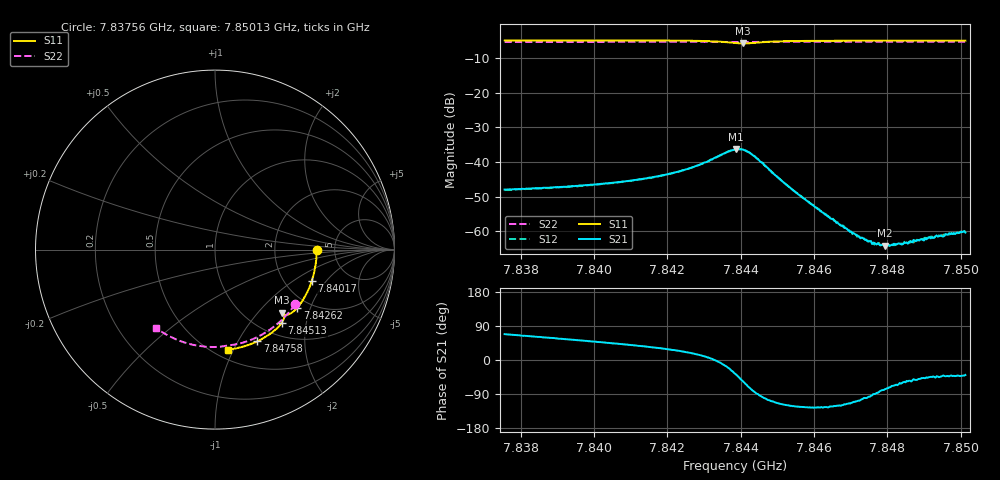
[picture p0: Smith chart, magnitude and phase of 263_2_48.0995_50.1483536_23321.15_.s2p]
#  HZ  S  RI  R  50.00
! Rohde & Schwarz Vector Network Analyzer
! Rohde-Schwarz,ZNB20-2Port,1311601062101988,3.16
! Created: UTC 12/23/2023, 4:01:00 AM
! freq[Hz]  re:S11  im:S11  re:S21  im:S21  re:S12  im:S12  re:S22  im:S22
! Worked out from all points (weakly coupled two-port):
!   401 points, 7.83756 GHz to 7.85013 GHz, reference 50 ohm
!   highest |S21| = -36.25 dB at 7.84388 GHz (marker M1); lowest = -64.1 dB at 7.84793 GHz (marker M2)
!   lowest |S11| = -5.8 dB at 7.84406 GHz (marker M3), VSWR 3.11, Z = 71.5 - j68.3 ohm
!   |S11| at or under -10 dB: nowhere
!   |S22| runs from -5.4 to -5.3 dB; largest |S21 - S12| = 0.00031
!   S11 on the Smith chart (normalised r, x): 7.83756 GHz: 3.61, -0.01; 7.84017 GHz: 2.81, -1.43; 7.84262 GHz: 1.72, -1.63; 7.84513 GHz: 1.24, -1.45; 7.84758 GHz: 0.81, -1.21; 7.85013 GHz: 0.58, -0.95
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7.837558e9  0.5665 -0.00108  0.00149 0.00373  0.0015 0.00364  0.4467 -0.303
7.839664e9  0.5493 -0.1402  0.00285 0.00358  0.00282 0.00358  0.3487 -0.4129
7.840167e9  0.5399 -0.1729  0.00329 0.00355  0.00324 0.00353  0.3213 -0.4349
7.84177e9  0.495 -0.2733  0.00539 0.00329  0.00532 0.00327  0.2248 -0.4924
7.842618e9  0.4591 -0.3235  0.00776 0.00267  0.00771 0.00266  0.1692 -0.5142
7.843373e9  0.4116 -0.3603  0.0121 -0.00088  0.012 -0.000747  0.1178 -0.5276
7.843844e9  0.3774 -0.3593  0.0123 -0.00895  0.0123 -0.00879  0.0861 -0.5321
7.843876e9  0.3763 -0.3579  0.012 -0.00961  0.0121 -0.0094  0.0841 -0.5323
7.844064e9  0.3747 -0.3514  0.00836 -0.0126  0.00838 -0.0125  0.0723 -0.5342
7.84419e9  0.3781 -0.3504  0.00503 -0.0131  0.00522 -0.0132  0.0644 -0.5354
7.844379e9  0.3842 -0.3564  0.00113 -0.0122  0.00125 -0.012  0.0522 -0.5375
7.845133e9  0.3719 -0.4075  -0.00237 -0.00474  -0.00237 -0.00477  -0.000523 -0.5426
7.84595e9  0.3312 -0.4511  -0.0014 -0.00199  -0.0014 -0.00198  -0.0583 -0.5406
7.846987e9  0.2722 -0.4922  -0.000415 -0.000898  -0.000386 -0.000909  -0.1301 -0.5286
7.847239e9  0.2571 -0.5004  -0.000251 -0.000791  -0.000255 -0.000806  -0.1473 -0.5242
7.847584e9  0.236 -0.5107  -3.59e-05 -0.000657  -6.54e-05 -0.000672  -0.1706 -0.5173
7.84793e9  0.2147 -0.5203  0.000136 -0.000609  0.000168 -0.000618  -0.1935 -0.5094
7.848056e9  0.207 -0.5233  0.000198 -0.000599  0.000212 -0.000576  -0.2017 -0.5064
7.848559e9  0.1753 -0.5348  0.000373 -0.000557  0.000362 -0.000566  -0.2343 -0.4924
7.849156e9  0.1369 -0.5459  0.000571 -0.000574  0.000559 -0.000619  -0.2715 -0.4734
7.849659e9  0.1041 -0.5529  0.000664 -0.000611  0.000672 -0.000613  -0.3015 -0.4551
7.85013e9  0.0731 -0.5577  0.000743 -0.000611  0.000754 -0.0007  -0.3286 -0.4362
